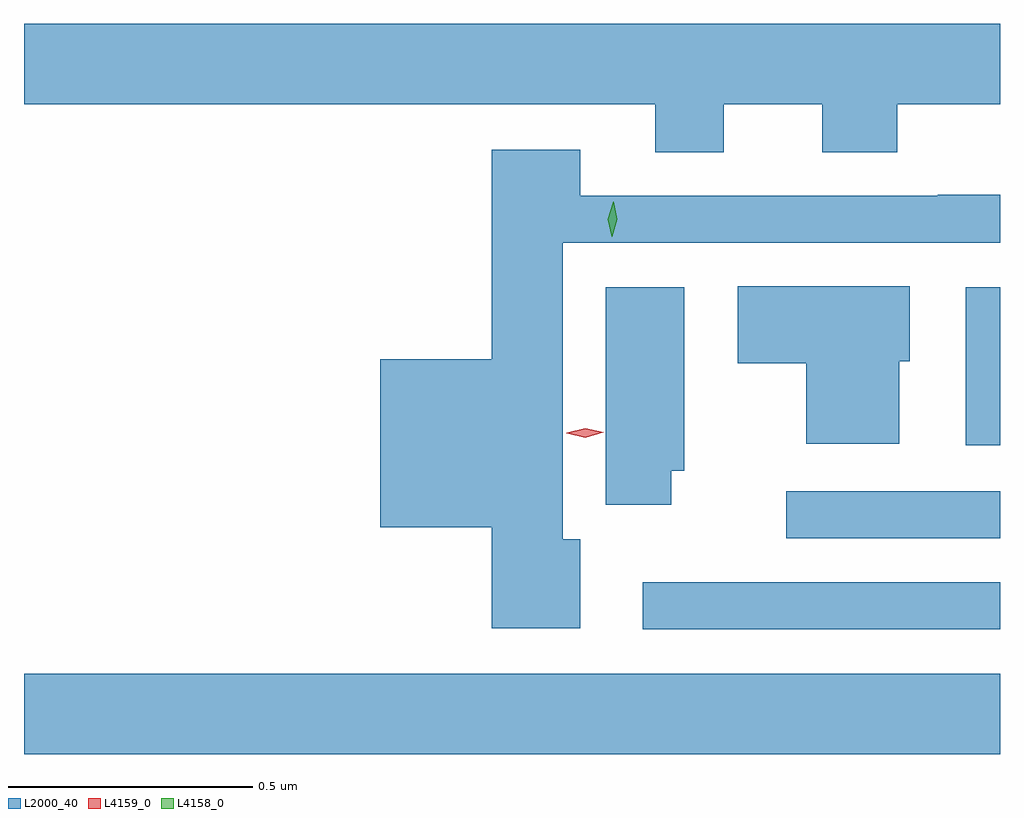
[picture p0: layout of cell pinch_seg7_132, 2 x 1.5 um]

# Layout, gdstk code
import gdstk
lib = gdstk.Library(unit=1e-6, precision=1e-09)
def R(c, l, rs):  # rectangles x0, y0, x1, y1
    for r in rs: c.add(gdstk.rectangle(r[:2], r[2:], *l))
def P(c, l, *ps):  # polygons
    for p in ps: c.add(gdstk.Polygon(p, *l))
L2000_40 = (2000, 40)
L4158_0 = (4158, 0)
L4159_0 = (4159, 0)

pinch_seg7_132 = lib.new_cell('pinch_seg7_132')
R(pinch_seg7_132, L2000_40, [(969.364,1021.928,971.364,1022.092), (970.632,1022.184,971.364,1022.28), (970.926,1022.37,971.364,1022.466), (971.294,1022.561,971.364,1022.884)])
P(pinch_seg7_132, L2000_40, [(970.798,1023.26),(971,1023.26),(971,1023.161),(971.153,1023.161),(971.153,1023.26),(971.364,1023.26),(971.364,1023.424),(969.364,1023.424),(969.364,1023.26),(970.658,1023.26),(970.658,1023.161),(970.798,1023.161)],
  [(970.504,1022.368),(970.468,1022.368),(970.468,1022.976),(971.364,1022.976),(971.364,1023.074),(971.236,1023.074),(971.236,1023.072),(970.504,1023.072),(970.504,1023.166),(970.322,1023.166),(970.322,1022.737),(970.094,1022.737),(970.094,1022.393),(970.322,1022.393),(970.322,1022.186),(970.504,1022.186)],
  [(971.158,1022.733),(971.179,1022.733),(971.179,1022.887),(970.827,1022.887),(970.827,1022.729),(970.967,1022.729),(970.967,1022.564),(971.158,1022.564)],
  [(970.69,1022.508),(970.717,1022.508),(970.717,1022.884),(970.556,1022.884),(970.556,1022.439),(970.69,1022.439)])
P(pinch_seg7_132, L4158_0, [(970.568,1022.988),(970.568,1022.988),(970.56,1023.024),(970.571,1023.06),(970.572,1023.06),(970.572,1023.06),(970.58,1023.024),(970.569,1022.988)])
P(pinch_seg7_132, L4159_0, [(970.514,1022.576),(970.476,1022.585),(970.475,1022.585),(970.476,1022.586),(970.514,1022.596),(970.552,1022.587),(970.552,1022.587),(970.552,1022.587)])

lib.write_gds('pinch_seg7_132.gds')
